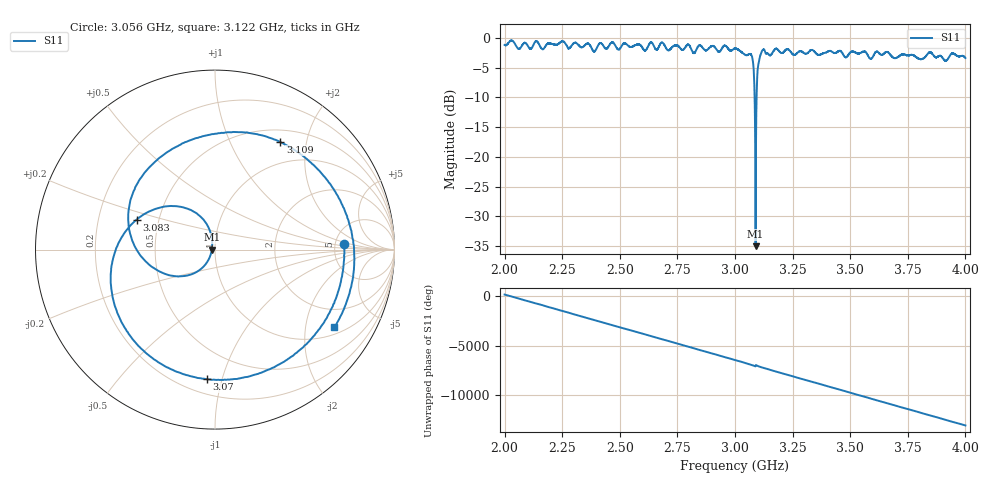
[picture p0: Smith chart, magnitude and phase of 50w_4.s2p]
!Agilent Technologies,E8362B,MY43021131,A.07.50.67
!Agilent E8362B: A.07.50.67
!Date: Thursday, March 14, 2024 14:13:01
!Correction: S11(Off)
!S21(Off)
!S12(Off)
!S22(Off)
!S2P File: Measurements: S11, S21, S12, S22:
# Hz S  RI  R 50
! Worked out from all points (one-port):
!   20001 points, 2 GHz to 4 GHz, reference 50 ohm
!   lowest |S11| = -35.0 dB at 3.09 GHz (marker M1), VSWR 1.04, Z = 48.3 - j0.0147 ohm
!   |S11| at or under -10 dB: 3.085203 GHz to 3.093657 GHz (8.454 MHz wide, 0.274 % of centre)
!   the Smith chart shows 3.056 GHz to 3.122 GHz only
!   S11 on the Smith chart (normalised r, x): 3.056 GHz: 6.00, +0.82; 3.07 GHz: 0.30, -0.90; 3.083 GHz: 0.37, +0.16; 3.109 GHz: 0.67, +1.57; 3.122 GHz: 1.24, -2.90
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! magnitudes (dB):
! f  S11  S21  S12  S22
! 2 GHz  -1.2  -  -  -
! 2.138 GHz  -0.5  -  -  -
! 2.166 GHz  -1.9  -  -  -
! 2.251 GHz  -0.6  -  -  -
! 2.333 GHz  -1.6  -  -  -
! 2.667 GHz  -1.7  -  -  -
! 3 GHz  -1.8  -  -  -
! 3.056 GHz  -2.9  -  -  -
! 3.07 GHz  -2.8  -  -  -
! 3.077 GHz  -3.7  -  -  -
! 3.083 GHz  -6.6  -  -  -
! 3.09 GHz  -35.0  -  -  -
! 3.096 GHz  -6.9  -  -  -
! 3.102 GHz  -4.3  -  -  -
! 3.109 GHz  -3.1  -  -  -
! 3.122 GHz  -2.0  -  -  -
! 3.333 GHz  -2.0  -  -  -
! 3.481 GHz  -3.2  -  -  -
! 3.56 GHz  -2.3  -  -  -
! 3.589 GHz  -3.5  -  -  -
! 3.667 GHz  -2.5  -  -  -
! 4 GHz  -3.4  -  -  -
